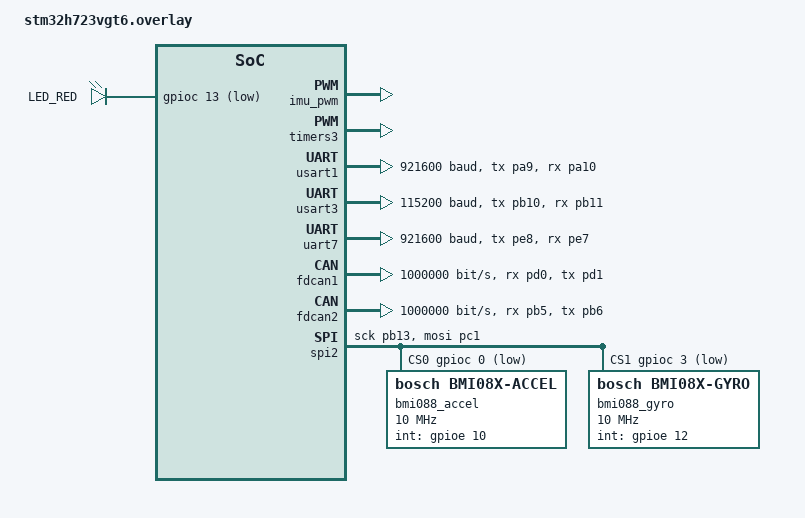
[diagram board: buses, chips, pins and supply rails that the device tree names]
#include <dt-bindings/gpio/gpio.h>
#include <dt-bindings/pinctrl/stm32-pinctrl.h>
#include <dt-bindings/dma/stm32_dma.h>
#include <zephyr/dt-bindings/pwm/pwm.h>

/ {
	aliases {
		user-can1    = &fdcan1;
		user-can2	 = &fdcan2;
		remote-uart  = &usart1;
		debug-uart	 = &usart3;
		bmi088-accel = &bmi088_accel;
		bmi088-gyro  = &bmi088_gyro;
		imu-pwm      = &imu_pwm;
	};
	chosen {
		zephyr,console = &uart7;
		zephyr,shell-uart = &uart7;
	};
	leds {
		compatible = "gpio-leds";
		led_alert: led_alert {
			gpios = <&gpioc 13 GPIO_ACTIVE_LOW>;
			label = "LED_RED";
		};
	};

	pwmleds {
		compatible = "pwm-leds";

		imu_pwm: imu_pwm {
			pwms = <&pwm3 4 PWM_NSEC(2083542) PWM_POLARITY_NORMAL>;
			label = "IMU Heater";
			status = "okay";
		};
	};
};

/* IMU 加热器 PWM：TIM3_CH4 / PB1，PSC=24，ARR=10000（≈2.0835ms，~480Hz） */
&timers3 {
	st,prescaler = <24>;
	status = "okay";

	pwm3: pwm {
		status = "okay";
		pinctrl-0 = <&tim3_ch4_pb1>;
		pinctrl-names = "default";
	};
};

&pinctrl {
	tim3_ch4_pb1: tim3_ch4_pb1 {
		pinmux = <STM32_PINMUX('B', 1, AF2)>;
	};
};

&usart1 {
	pinctrl-0 = <&usart1_tx_pa9 &usart1_rx_pa10>;
	pinctrl-names = "default";
	current-speed = <921600>;
	dmas = <&dmamux1 0 42 (STM32_DMA_PERIPH_TX | STM32_DMA_PRIORITY_HIGH)>,
	       <&dmamux1 1 41 (STM32_DMA_PERIPH_RX | STM32_DMA_PRIORITY_HIGH)>;
	dma-names = "tx", "rx";
	status = "okay";
};

&usart3 {
	pinctrl-0 = <&usart3_tx_pb10 &usart3_rx_pb11>;
	pinctrl-names = "default";
	current-speed = <115200>;
	status = "okay";
};

&uart7 {
	pinctrl-0 = <&uart7_tx_pe8 &uart7_rx_pe7>;
	pinctrl-names = "default";
	current-speed = <921600>;
	status = "okay";
};

/* USART1 DMA（遥控器接收）：DMAMUX1 通道 0/1 映射到 DMA1 */
&dma1 {
	status = "okay";
};

&dmamux1 {
	status = "okay";
};

&fdcan1 {
	pinctrl-0 = <&fdcan1_rx_pd0 &fdcan1_tx_pd1>;
	pinctrl-names = "default";
	bitrate = <1000000>;
	sample-point = <800>;
	status = "okay";
};

&fdcan2 {
	pinctrl-0 = <&fdcan2_rx_pb5 &fdcan2_tx_pb6>;
	pinctrl-names = "default";
	bitrate = <1000000>;
	sample-point = <800>;
	status = "okay";
};

&spi2 {
	pinctrl-0 = <&spi2_sck_pb13 &spi2_miso_pc2_c &spi2_mosi_pc1>;
	pinctrl-names = "default";
	cs-gpios = <&gpioc 0 (GPIO_ACTIVE_LOW | GPIO_PULL_UP)>,
		   <&gpioc 3 (GPIO_ACTIVE_LOW | GPIO_PULL_UP)>;
	status = "okay";

	bmi088_accel: bmi088-accel@0 {
		compatible = "bosch,bmi08x-accel";
		reg = <0>;
		spi-max-frequency = <10000000>;
		spi-cpol;
		spi-cpha;
		int-gpios = <&gpioe 10 GPIO_ACTIVE_HIGH>;
		int1-map-io = <0x01>;
		int2-map-io = <0x00>;
		int1-conf-io = <0x0A>;
		int2-conf-io = <0x00>;
		accel-hz = "800";
		accel-fs = <6>;
		status = "okay";
	};

	bmi088_gyro: bmi088-gyro@1 {
		compatible = "bosch,bmi08x-gyro";
		reg = <1>;
		spi-max-frequency = <10000000>;
		spi-cpol;
		spi-cpha;
		int-gpios = <&gpioe 12 GPIO_ACTIVE_HIGH>;
		int3-4-map-io = <0x01>;
		int3-4-conf-io = <0x01>;
		gyro-hz = "2000_230";
		gyro-fs = <2000>;
		status = "okay";
	};
};
